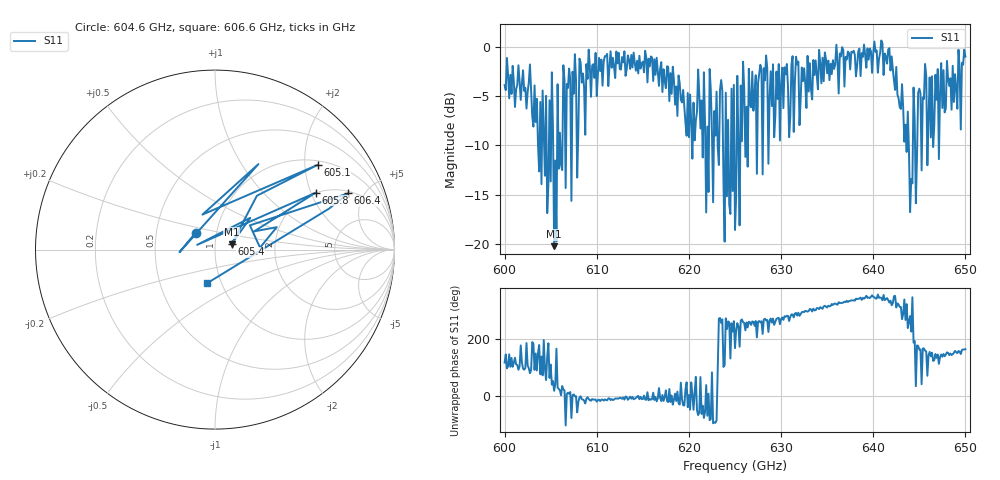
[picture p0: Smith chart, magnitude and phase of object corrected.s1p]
!Created with skrf (http://scikit-rf.org).
# GHz S MA R 50.0
!freq magS11 angS11
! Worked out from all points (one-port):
!   401 points, 600 GHz to 650 GHz, reference 50 ohm
!   lowest |S11| = -20.2 dB at 605.4 GHz (marker M1), VSWR 1.22, Z = 60.1 + j3.68 ohm
!   |S11| at or under -10 dB: 604.5526 GHz to 604.8088 GHz (256.2 MHz wide, 0.0424 % of centre); 605.2669 GHz to 605.7015 GHz (434.6 MHz wide, 0.0718 % of centre); 643.8607 GHz to 644.2998 GHz (439.1 MHz wide, 0.0682 % of centre)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
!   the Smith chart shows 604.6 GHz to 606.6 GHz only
!   S11 on the Smith chart (normalised r, x): 604.6 GHz: 0.79, +0.15; 605.1 GHz: 1.11, +2.32; 605.4 GHz: 1.20, +0.07; 605.8 GHz: 1.99, +2.16; 606.4 GHz: 2.14, +3.79; 606.6 GHz: 0.86, -0.33
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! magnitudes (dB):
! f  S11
! 600 GHz  -3.9
! 602.8 GHz  -1.8
! 604.6 GHz  -16.9
! 605.1 GHz  -2.6
! 605.4 GHz  -20.2
! 605.8 GHz  -3.8
! 606.2 GHz  -12.5
! 606.4 GHz  -1.9
! 606.6 GHz  -14.3
! 612.5 GHz  -2.3
! 618.8 GHz  -7.0
! 620.5 GHz  -5.7
! 621.1 GHz  -4.8
! 621.9 GHz  -16.8
! 623.4 GHz  -4.4
! 624.1 GHz  -15.2
! 625 GHz  -18.6
! 625.2 GHz  -3.0
! 625.9 GHz  -1.5
! 626.8 GHz  -6.2
! 631.2 GHz  -1.0
! 637.5 GHz  -2.3
! 641.9 GHz  -2.4
! 643.8 GHz  -6.6
! 644 GHz  -16.8
! 645.5 GHz  -5.3
! 649.2 GHz  -0.3
! 650 GHz  -1.0
